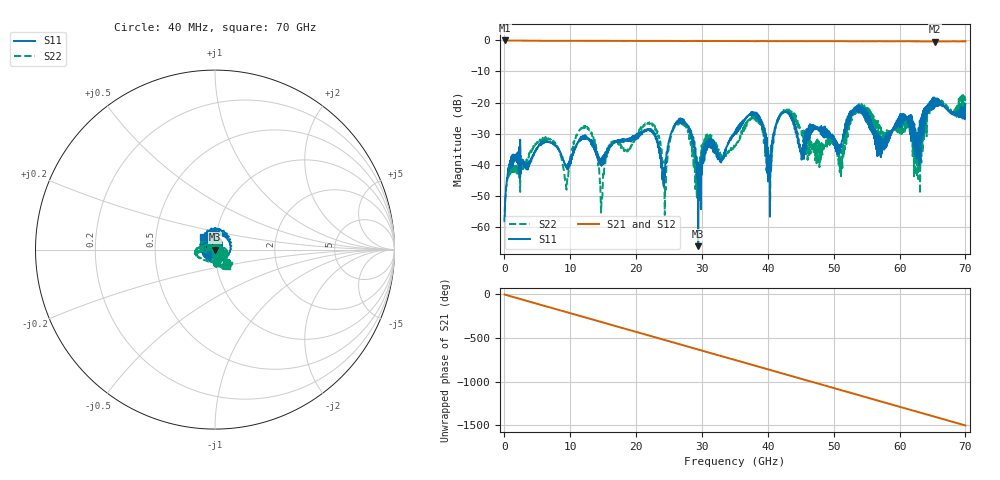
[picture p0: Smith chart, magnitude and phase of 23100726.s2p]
! 11/1/2023 14:42:14
! D:\MS4647AVNA\185MM 231151XX\23115126.S2P
! CHANNEL.1
! TR.MEASUREMENT
! CORRECTED.DATA
# GHZ S RI R 50.0
! FREQ.GHZ  S11RE  S11IM  S21RE  S21IM  S12RE  S12IM  S22RE  S22IM
!; PortSelection: Port_12
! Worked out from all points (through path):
!   1750 points, 40 MHz to 70 GHz, reference 50 ohm
!   highest |S21| = -0.01 dB at 120 MHz (marker M1); lowest = -0.4 dB at 65.44 GHz (marker M2)
!   group delay of S21, straight-line fit = 59.5 ps
!   lowest |S11| = -66.2 dB at 29.44 GHz (marker M3), VSWR 1.00, Z = 50 + j0.0404 ohm
!   |S11| at or under -10 dB: start of sweep to end of sweep
!   |S22| runs from -58.5 to -17.6 dB; largest |S21 - S12| = 0.031
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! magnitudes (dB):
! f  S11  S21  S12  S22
! 40 MHz  -58.0  0.0  0.0  -58.5
! 120 MHz  -51.3  0.0  0.0  -52.3
! 5.92 GHz  -33.2  -0.1  -0.1  -32.2
! 9.44 GHz  -40.6  -0.1  -0.1  -48.1
! 11.72 GHz  -31.5  -0.1  -0.1  -28.2
! 14.76 GHz  -40.4  -0.1  -0.1  -51.2
! 16.36 GHz  -33.4  -0.1  -0.1  -32.7
! 23.36 GHz  -33.4  -0.1  -0.2  -30.9
! 24.4 GHz  -42.1  -0.2  -0.2  -48.3
! 27.36 GHz  -26.5  -0.2  -0.2  -27.6
! 29.44 GHz  -66.2  -0.1  -0.2  -46.3
! 35.04 GHz  -29.8  -0.2  -0.2  -33.9
! 38.36 GHz  -23.8  -0.2  -0.3  -25.4
! 40.24 GHz  -39.1  -0.2  -0.2  -37.7
! 42.52 GHz  -23.0  -0.2  -0.2  -22.9
! 46.68 GHz  -29.6  -0.2  -0.3  -34.9
! 51 GHz  -33.6  -0.2  -0.3  -37.5
! 53.96 GHz  -21.1  -0.3  -0.3  -22.9
! 58.36 GHz  -31.4  -0.3  -0.3  -30.2
! 62.92 GHz  -28.1  -0.3  -0.3  -39.9
! 65.44 GHz  -18.7  -0.4  -0.4  -20.0
! 70 GHz  -20.4  -0.3  -0.4  -18.9
